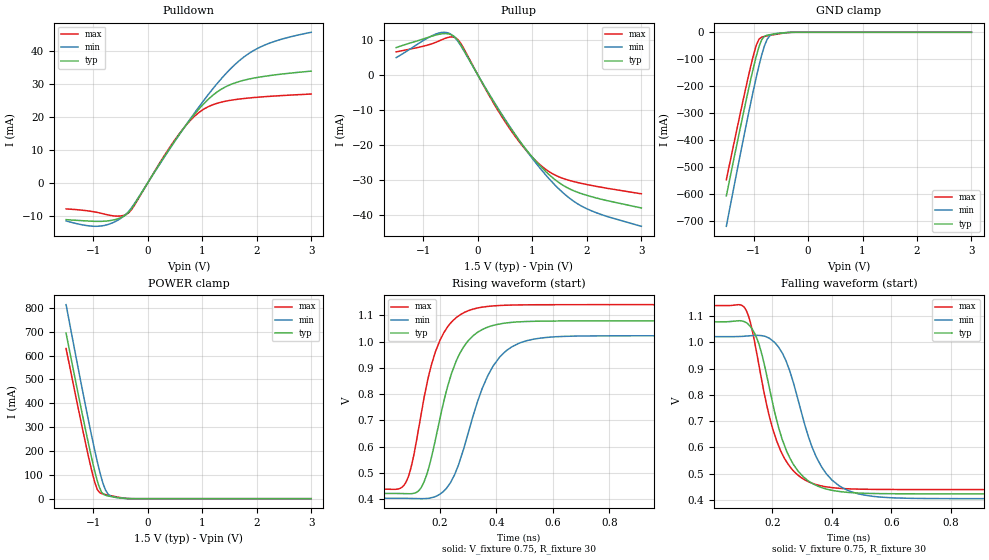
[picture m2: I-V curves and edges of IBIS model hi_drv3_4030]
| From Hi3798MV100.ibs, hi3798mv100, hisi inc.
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[Model]   hi_drv3_4030
Model_type   I/O
Polarity   Non-Inverting
Enable   Active-High
Vinl = 0.575
Vinh = 0.925
Vmeas = 0.75
Cref = 0
Rref = 30
Vref = 0.75
| variable   typ   min   max
C_comp   3.44836p   3.31741p   3.59689p
| Subparameter   typ   min   max
[Model Spec]
Vinl   0.575   0.575   0.575
Vinh   0.925   0.925   0.925
Vmeas   0.75   0.75   0.75
Cref   0   0   0
Rref   30   30   30
Vref   0.75   0.75   0.75
| Variable   typ   min   max
[Temperature Range] 25   125   -40
| Variable   typ   min   max
[Voltage Range]   1.5   1.425   1.575
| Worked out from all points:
|   slope of the pulldown table from 0 to 0.225 V, typ, clamps not added: 37.9 ohm
|   slope of the pullup table from 0 to 0.225 V, typ, clamps not added: 37.5 ohm
|   GND clamp passes 1 mA (typ) near -0.38 V on its own axis
|   POWER clamp passes 1 mA (typ) near -0.41 V on its own axis
|   rising waveform, V_fixture 0.75, R_fixture 30: 20-80 % time 98.4ps typ, 120ps min, 88.8ps max; typ from 0.422 V to 1.08 V
|   falling waveform, V_fixture 0.75, R_fixture 30: 20-80 % time 95ps typ, 108ps min, 90.4ps max; typ from 1.08 V to 0.422 V
[Power_clamp]
| Note that the [POWER_clamp] voltage table is referenced to Vcc
| and is calculated using Vtable=Vcc - Vmeasured.
| Voltage   I(typ)   I(min)   I(max)
-1.5V     693.8mA    813.1mA    629.1mA
-1.175V   324.1mA    426.1mA    267.2mA
-1.075V   216.2mA    312.2mA    162.2mA
-975mV    116.6mA    203.6mA    69.48mA
-925mV    73.8mA     152.9mA    37.32mA
-900mV    54.15mA    129.5mA    30.53mA
-850mV    27.61mA    85.94mA    21.73mA
-775mV    14.33mA    35.43mA    17.07mA
-725mV    11.22mA    17.85mA    14.61mA
-625mV    7.173mA    6.73mA     9.915mA
-325mV    202.2uA    222.3uA    269.4uA
3V        -32.51nA   -746.2nA   -14.36nA
[Pulldown]
| Voltage   I(typ)   I(min)   I(max)
-1.5V     -11.18mA   -11.58mA   -7.936mA
-900mV    -11.71mA   -13.18mA   -9.093mA
-650mV    -11.35mA   -12.17mA   -10mA
-450mV    -10.23mA   -10.23mA   -9.928mA
-300mV    -7.89mA    -7.613mA   -8.184mA
250mV     6.581mA    6.416mA    6.839mA
600mV     15.17mA    15.09mA    15.34mA
1V        23.48mA    24.36mA    22.03mA
1.4V      28.84mA    32.49mA    24.63mA
1.85V     31.41mA    39.14mA    25.69mA
2.3V      32.63mA    42.72mA    26.27mA
3V        33.85mA    45.62mA    26.9mA
[Pullup]
| Voltage   I(typ)   I(min)   I(max)
-1.5V     7.872mA    5.018mA    6.641mA
-775mV    11.44mA    11.72mA    9.355mA
-625mV    11.85mA    12.24mA    10.36mA
-475mV    11.41mA    11.46mA    10.92mA
-325mV    8.918mA    8.672mA    9.317mA
275mV     -7.295mA   -7.132mA   -7.677mA
625mV     -15.73mA   -15.63mA   -16.23mA
925mV     -22.03mA   -22.28mA   -22.22mA
1.175V    -26.47mA   -27.26mA   -26.08mA
1.5V      -30.85mA   -32.72mA   -29.15mA
1.875V    -33.73mA   -37.19mA   -30.85mA
3V        -37.95mA   -43.2mA    -33.91mA
[GND_clamp]
| Voltage   I(typ)   I(min)   I(max)
-1.5V     -606.4mA   -719.1mA   -546.7mA
-1.15V    -264.9mA   -358mA     -212.8mA
-1.05V    -172.8mA   -259.7mA   -123.8mA
-950mV    -88.38mA   -166.4mA   -47.91mA
-900mV    -52.85mA   -123.1mA   -25.33mA
-850mV    -27.04mA   -83.49mA   -17.83mA
-800mV    -14.74mA   -49.95mA   -15.3mA
-750mV    -10.77mA   -25.72mA   -13.35mA
-700mV    -8.89mA    -12.61mA   -11.48mA
-600mV    -5.956mA   -5.07mA    -7.903mA
-300mV    -165.6uA   -228.6uA   -202.8uA
3V        69.88nA    998.8nA    13.39nA
[Ramp]
| Variable   typ   min   max
dV/dt_r   0.396268/0.09496n 0.373843/0.107801n 0.42319/0.09036n
dV/dt_f   0.396268/0.09496n 0.373843/0.107801n 0.42319/0.09036n
R_load = 30
[Rising_Waveform]
V_fixture = 0.75
V_fixture_min = 0.7125
V_fixture_max = 0.7875
R_fixture = 30
| Time   V(typ)   V(min)   V(max)
710fs     422.4mV    404.1mV    438.8mV
82.03ps   421.2mV    403.8mV    472mV
134.5ps   447.6mV    402.5mV    736.4mV
169.9ps   563mV      406.3mV    914.5mV
225.5ps   825.1mV    446.4mV    1.055V
297.5ps   1.001V     644.5mV    1.116V
367.6ps   1.054V     867.2mV    1.134V
436.7ps   1.071V     966.8mV    1.138V
803.4ps   1.079V     1.022V     1.14V
18.54ns   1.079V     1.022V     1.14V
[Falling_Waveform]
V_fixture = 0.75
V_fixture_min = 0.7125
V_fixture_max = 0.7875
R_fixture = 30
| Time   V(typ)   V(min)   V(max)
3.82ps    1.079V     1.022V     1.14V
113.9ps   1.074V     1.024V     1.118V
156.5ps   987.7mV    1.027V     902mV
200.7ps   768.4mV    1.007V     671.7mV
231.4ps   635.2mV    962.7mV    577.9mV
261.3ps   553.5mV    880.5mV    522.4mV
318.8ps   473.7mV    648.4mV    470mV
364.3ps   446.7mV    527mV      452.8mV
477.3ps   426.2mV    426.3mV    440.6mV
18.54ns   422.4mV    404mV      438.7mV
